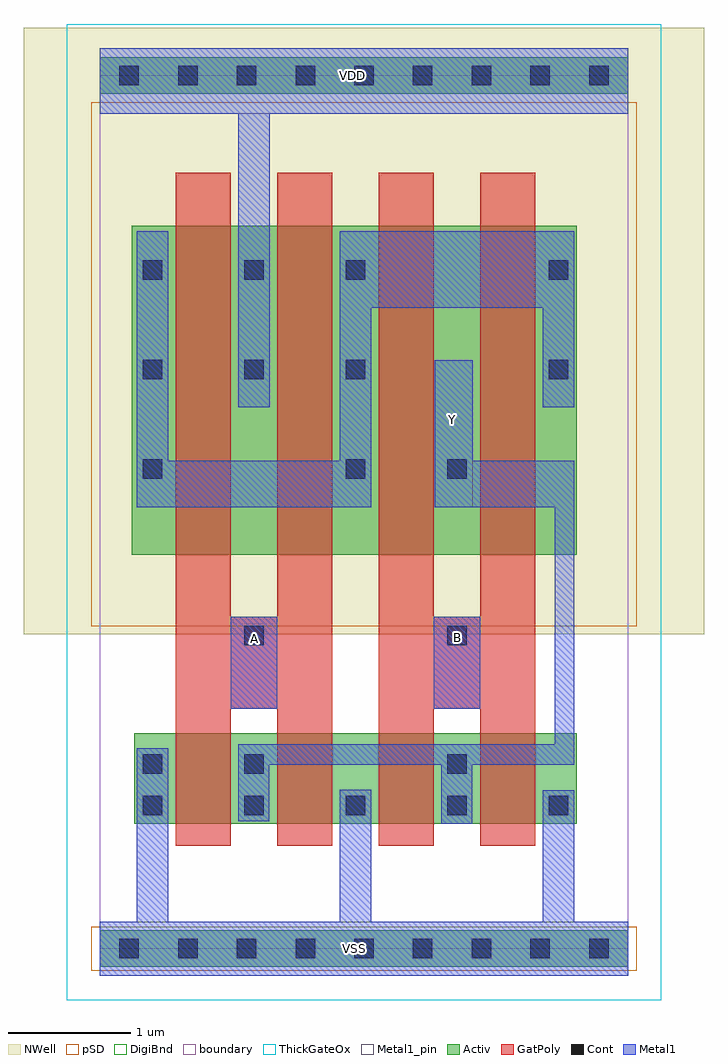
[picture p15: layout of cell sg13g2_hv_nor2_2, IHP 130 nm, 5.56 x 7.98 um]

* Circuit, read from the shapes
.subckt sg13g2_hv_nor2_2 A B VDD VSS Y
XM1 Y A VSS VSS sg13_hv_nmos w=0.74u l=0.45u m=2
XM2 Y B VSS VSS sg13_hv_nmos w=0.74u l=0.45u m=2
XM3 VDD A n1 VDD sg13_hv_pmos w=2.69u l=0.45u m=2
XM4 Y B n1 VDD sg13_hv_pmos w=2.69u l=0.45u m=2
.ends

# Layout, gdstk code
import gdstk
lib = gdstk.Library(unit=1e-6, precision=1e-09)
def R(c, l, rs):  # rectangles x0, y0, x1, y1
    for r in rs: c.add(gdstk.rectangle(r[:2], r[2:], *l))
def A(c, l, x, y, w, h, nx, ny, dx, dy):  # array of equal rectangles
    R(c, l, [(x+i*dx, y+j*dy, x+i*dx+w, y+j*dy+h) for i in range(nx) for j in range(ny)])
def P(c, l, *ps):  # polygons
    for p in ps: c.add(gdstk.Polygon(p, *l))
Activ = (1, 0)
GatPoly = (5, 0)
Cont = (6, 0)
Metal1 = (8, 0)
Metal1_pin = (8, 2)
pSD = (14, 0)
DigiBnd = (16, 0)
NWell = (31, 0)
ThickGateOx = (44, 0)
boundary = (189, 4)

sg13g2_hv_nor2_2 = lib.new_cell('sg13g2_hv_nor2_2')
R(sg13g2_hv_nor2_2, Activ, [(0,-0.15,4.32,0.15), (0.28,1.02,3.9,1.76), (0.26,3.22,3.9,5.91), (0,6.99,4.32,7.29)])
P(sg13g2_hv_nor2_2, GatPoly, [(2.28,0.84),(2.28,6.345),(2.73,6.345),(2.73,2.715),(3.11,2.715),(3.11,6.345),(3.56,6.345),(3.56,0.84),(3.11,0.84),(3.11,1.96),(2.73,1.96),(2.73,0.84)],
  [(0.62,0.84),(0.62,6.345),(1.07,6.345),(1.07,2.715),(1.45,2.715),(1.45,6.345),(1.9,6.345),(1.9,0.84),(1.45,0.84),(1.45,1.96),(1.07,1.96),(1.07,0.84)])
A(sg13g2_hv_nor2_2, Cont, 0.16, -0.08, 0.16, 0.16, 9, 2, 0.48, 7.14)
A(sg13g2_hv_nor2_2, Cont, 0.35, 1.09, 0.16, 0.16, 5, 1, 0.83, 0)
A(sg13g2_hv_nor2_2, Cont, 0.35, 4.655, 0.16, 0.16, 3, 2, 0.83, 0.815)
R(sg13g2_hv_nor2_2, Cont, [(0.35,1.43,0.51,1.59), (1.18,1.43,1.34,1.59), (2.84,1.43,3,1.59), (1.18,2.48,1.34,2.64), (2.84,2.48,3,2.64), (0.35,3.84,0.51,4), (2.01,3.84,2.17,4), (2.84,3.84,3,4), (3.67,4.655,3.83,4.815), (3.67,5.47,3.83,5.63)])
R(sg13g2_hv_nor2_2, Metal1, [(1.07,1.96,1.45,2.715), (2.73,1.96,3.11,2.715)])
P(sg13g2_hv_nor2_2, Metal1, [(2.79,1.02),(2.79,1.505),(1.385,1.505),(1.385,1.04),(1.13,1.04),(1.13,1.67),(3.72,1.67),(3.72,3.61),(2.74,3.61),(2.74,4.81),(3.05,4.81),(3.05,3.99),(3.88,3.99),(3.88,1.505),(3.045,1.505),(3.045,1.02)],
  [(0.3,3.61),(0.3,5.865),(0.56,5.865),(0.56,3.99),(1.96,3.99),(1.96,5.865),(3.88,5.865),(3.88,4.425),(3.62,4.425),(3.62,5.24),(2.22,5.24),(2.22,3.61)],
  [(1.13,4.425),(1.13,6.825),(0,6.825),(0,7.36),(4.32,7.36),(4.32,6.825),(1.39,6.825),(1.39,4.425)],
  [(0,-0.22),(0,0.22),(0.3,0.22),(0.3,1.64),(0.56,1.64),(0.56,0.22),(1.96,0.22),(1.96,1.3),(2.22,1.3),(2.22,0.22),(3.62,0.22),(3.62,1.295),(3.88,1.295),(3.88,0.22),(4.32,0.22),(4.32,-0.22)])
R(sg13g2_hv_nor2_2, Metal1_pin, [(0,-0.22,4.32,0.22), (1.07,1.96,1.45,2.715), (2.73,1.96,3.11,2.715), (2.74,3.61,3.05,4.81), (0,6.825,4.32,7.36)])
R(sg13g2_hv_nor2_2, pSD, [(-0.07,-0.18,4.39,0.18), (-0.07,2.635,4.39,6.92)])
R(sg13g2_hv_nor2_2, DigiBnd, [(0,0,4.32,7.14)])
R(sg13g2_hv_nor2_2, NWell, [(-0.62,2.57,4.94,7.53)])
R(sg13g2_hv_nor2_2, ThickGateOx, [(-0.27,-0.42,4.59,7.56)])
R(sg13g2_hv_nor2_2, boundary, [(0,0,4.32,7.14)])
sg13g2_hv_nor2_2.add(gdstk.Label('A', (1.265,2.535), layer=8, texttype=25))
sg13g2_hv_nor2_2.add(gdstk.Label('VDD', (2.07,7.14), layer=8, texttype=25))
sg13g2_hv_nor2_2.add(gdstk.Label('Y', (2.88,4.33), layer=8, texttype=25))
sg13g2_hv_nor2_2.add(gdstk.Label('VSS', (2.085,0.005), layer=8, texttype=25))
sg13g2_hv_nor2_2.add(gdstk.Label('B', (2.925,2.545), layer=8, texttype=25))

lib.write_gds('sg13g2_hv_nor2_2.gds')
